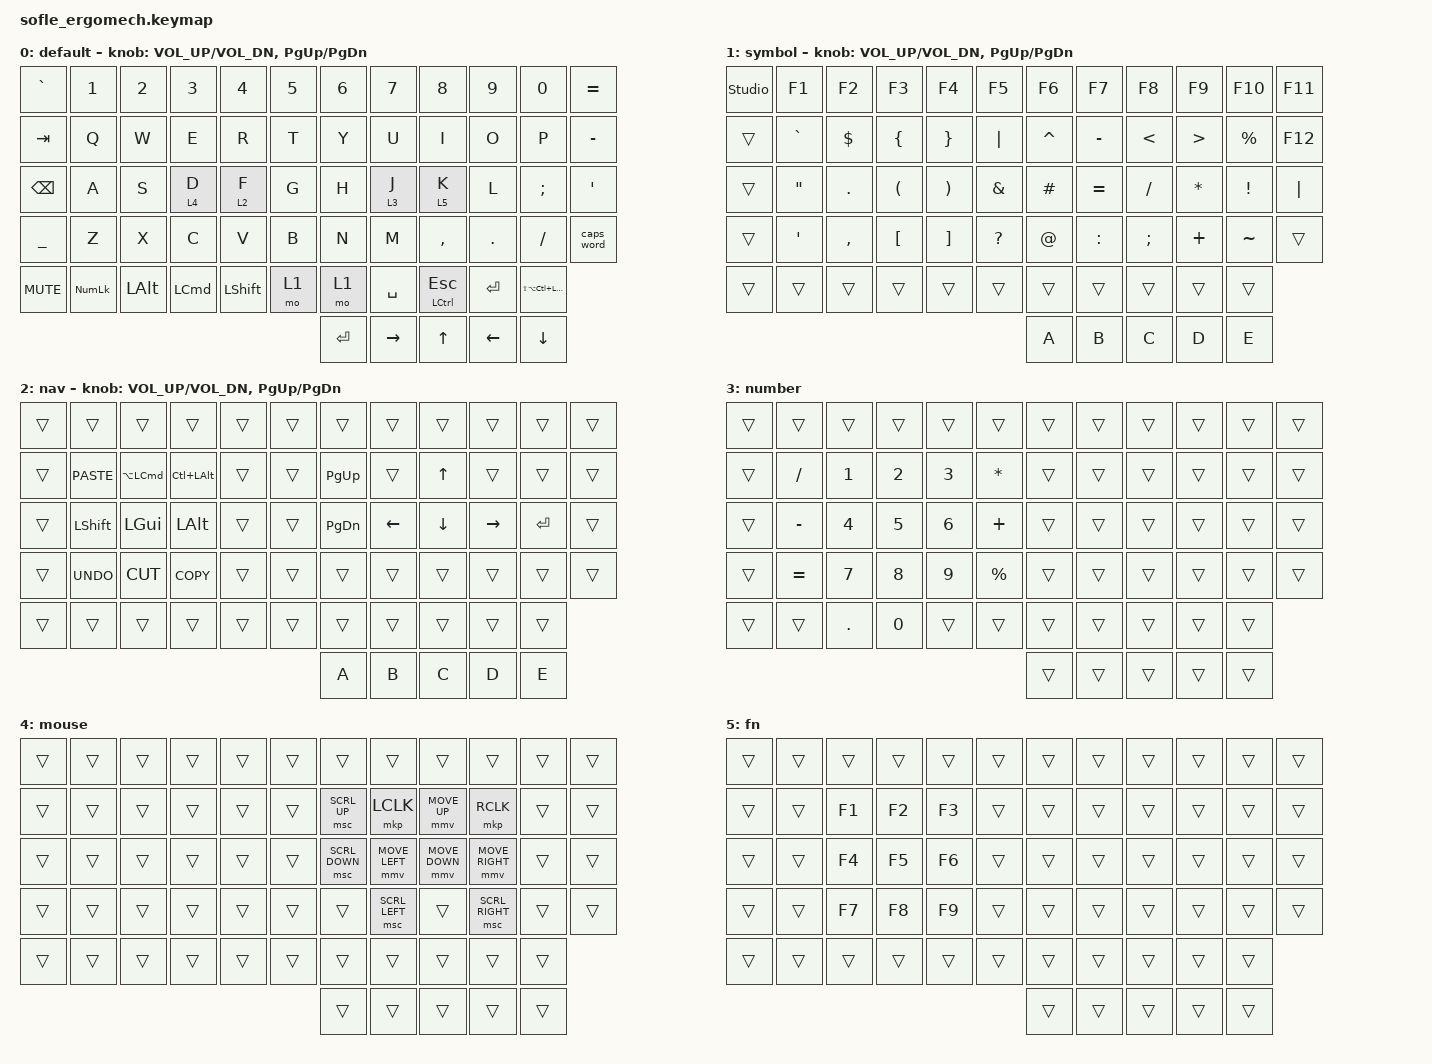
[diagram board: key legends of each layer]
/*
 * Copyright (c) 2020 The ZMK Contributors
 *
 * SPDX-License-Identifier: MIT
 */

#include <behaviors.dtsi>
#include <dt-bindings/zmk/keys.h>

#define ZMK_POINTING_DEFAULT_MOVE_VAL 1500  // default: 600
#define ZMK_POINTING_DEFAULT_SCRL_VAL 20    // default: 10
#include <dt-bindings/zmk/pointing.h>

#define BASE 0
#define LOWER 1
#define RAISE 2
#define ADJUST 3

/ {
    // Activate ADJUST layer by pressing raise and lower

    conditional_layers { compatible = "zmk,conditional-layers"; };

    keymap {
        compatible = "zmk,keymap";

        default_layer {
            label = "default";

            // ------------------------------------------------------------------------------------------------------------
            // |   `   |  1  |  2  |  3   |  4   |  5   |                   |  6   |  7    |  8    |  9   |   0   |       |
            // |  ESC  |  Q  |  W  |  E   |  R   |  T   |                   |  Y   |  U    |  I    |  O   |   P   | BKSPC |
            // |  TAB  |  A  |  S  |  D   |  F   |  G   |                   |  H   |  J    |  K    |  L   |   ;   |   '   |
            // | SHIFT |  Z  |  X  |  C   |  V   |  B   |  MUTE  |  |       |  N   |  M    |  ,    |  .   |   /   | SHIFT |
            //               | GUI | ALT  | CTRL | LOWER|  ENTER |  | SPACE | RAISE| CTRL  | ALT   | GUI  |

            bindings = <
&kp GRAVE       &kp N1          &kp N2    &kp N3            &kp N4          &kp N5  &kp N6     &kp N7     &kp N8                   &kp N9      &kp N0                    &kp EQUAL
&kp TAB         &kp Q           &kp W     &kp E             &kp R           &kp T   &kp Y      &kp U      &kp I                    &kp O       &kp P                     &kp MINUS
&kp BACKSPACE   &kp A           &kp S     &lt 4 D           &lt 2 F         &kp G   &kp H      &lt 3 J    &lt 5 K                  &kp L       &kp SEMI                  &kp SQT
&kp UNDERSCORE  &kp Z           &kp X     &kp C             &kp V           &kp B   &kp N      &kp M      &kp COMMA                &kp DOT     &kp FSLH                  &caps_word
&kp C_MUTE      &kp KP_NUMLOCK  &kp LALT  &kp LEFT_COMMAND  &kp LEFT_SHIFT  &mo 1   &mo 1      &kp SPACE  &mt LEFT_CONTROL ESCAPE  &kp RETURN  &kp LS(LA(LC(LEFT_GUI)))
                                                                                    &kp ENTER  &kp RIGHT  &kp UP_ARROW             &kp LEFT    &kp DOWN
            >;

            sensor-bindings = <&inc_dec_kp C_VOL_UP C_VOL_DN &inc_dec_kp PG_UP PG_DN>;
        };

        symbol_layer {
            label = "symbol";

            // TODO: Some binds are waiting for shifted keycode support.
            // ------------------------------------------------------------------------------------------------------------
            // |       |  F1 |  F2 |  F3  |  F4  |  F5  |                   |  F6  |  F7   |  F8   |  F9  |  F10  |  F11  |
            // |   `   |  1  |  2  |  3   |  4   |  5   |                   |  6   |  7    |  8    |  9   |   0   |  F12  |
            // |       |  !  |  @  |  #   |  $   |  %   |                   |  ^   |  &    |  *    |  (   |   )   |   |   |
            // |       |  =  |  -  |  +   |  {   |  }   |        |  |       |  [   |  ]    |  ;    |  :   |   \   |       |
            //               |     |      |      |      |        |  |       |      |       |       |      |

            bindings = <
&studio_unlock  &kp F1             &kp F2      &kp F3                &kp F4                 &kp F5         &kp F6       &kp F7     &kp F8         &kp F9            &kp F10          &kp F11
&trans          &kp GRAVE          &kp DOLLAR  &kp LEFT_BRACE        &kp RIGHT_BRACE        &kp PIPE       &kp CARET    &kp MINUS  &kp LESS_THAN  &kp GREATER_THAN  &kp PERCENT      &kp F12
&trans          &kp DOUBLE_QUOTES  &kp PERIOD  &kp LEFT_PARENTHESIS  &kp RIGHT_PARENTHESIS  &kp AMPERSAND  &kp HASH     &kp EQUAL  &kp SLASH      &kp ASTERISK      &kp EXCLAMATION  &kp PIPE
&trans          &kp SINGLE_QUOTE   &kp COMMA   &kp LEFT_BRACKET      &kp RIGHT_BRACKET      &kp QUESTION   &kp AT_SIGN  &kp COLON  &kp SEMI       &kp PLUS          &kp TILDE        &trans
&trans          &trans             &trans      &trans                &trans                 &trans         &trans       &trans     &trans         &trans            &trans
                                                                                                           &kp A        &kp B      &kp C          &kp D             &kp E
            >;

            sensor-bindings = <&inc_dec_kp C_VOL_UP C_VOL_DN &inc_dec_kp PG_UP PG_DN>;
        };

        nav_layer {
            label = "nav";

            // ------------------------------------------------------------------------------------------------------------
            // | BTCLR | BT1  | BT2  |  BT3  |  BT4  |  BT5 |                |      |      |       |      |       |       |
            // |       | INS  | PSCR | GUI   |       |      |                | PGUP |      |   ^   |      |       |       |
            // |       | ALT  | CTRL | SHIFT |       | CAPS |                | PGDN |   <- |   v   |  ->  |  DEL  | BKSPC |
            // |       | UNDO | CUT  | COPY  | PASTE |      |      |  |      |      |      |       |      |       |       |
            //                |      |       |       |      |      |  |      |      |      |       |      |

            bindings = <
&trans  &trans          &trans                &trans            &trans  &trans  &trans     &trans    &trans    &trans     &trans      &trans
&trans  &kp K_PASTE     &kp LA(LEFT_COMMAND)  &kp LC(LEFT_ALT)  &trans  &trans  &kp PG_UP  &trans    &kp UP    &trans     &trans      &trans
&trans  &kp LEFT_SHIFT  &kp LEFT_GUI          &kp LEFT_ALT      &trans  &trans  &kp PG_DN  &kp LEFT  &kp DOWN  &kp RIGHT  &kp RETURN  &trans
&trans  &kp K_UNDO      &kp K_CUT             &kp K_COPY        &trans  &trans  &trans     &trans    &trans    &trans     &trans      &trans
&trans  &trans          &trans                &trans            &trans  &trans  &trans     &trans    &trans    &trans     &trans
                                                                                &kp A      &kp B     &kp C     &kp D      &kp E
            >;

            sensor-bindings = <&inc_dec_kp C_VOL_UP C_VOL_DN &inc_dec_kp PG_UP PG_DN>;
        };

        number_layer {
            bindings = <
&trans  &trans     &trans        &trans        &trans        &trans        &trans  &trans  &trans  &trans  &trans  &trans
&trans  &kp SLASH  &kp NUMBER_1  &kp NUMBER_2  &kp NUMBER_3  &kp ASTERISK  &trans  &trans  &trans  &trans  &trans  &trans
&trans  &kp MINUS  &kp NUMBER_4  &kp NUMBER_5  &kp NUMBER_6  &kp PLUS      &trans  &trans  &trans  &trans  &trans  &trans
&trans  &kp EQUAL  &kp NUMBER_7  &kp NUMBER_8  &kp NUMBER_9  &kp PERCENT   &trans  &trans  &trans  &trans  &trans  &trans
&trans  &trans     &kp PERIOD    &kp NUMBER_0  &trans        &trans        &trans  &trans  &trans  &trans  &trans
                                                                           &trans  &trans  &trans  &trans  &trans
            >;

            label = "number";
        };

        mouse_layer {
            bindings = <
&trans  &trans  &trans  &trans  &trans  &trans  &trans          &trans          &trans          &trans           &trans  &trans
&trans  &trans  &trans  &trans  &trans  &trans  &msc SCRL_UP    &mkp LCLK       &mmv MOVE_UP    &mkp RCLK        &trans  &trans
&trans  &trans  &trans  &trans  &trans  &trans  &msc SCRL_DOWN  &mmv MOVE_LEFT  &mmv MOVE_DOWN  &mmv MOVE_RIGHT  &trans  &trans
&trans  &trans  &trans  &trans  &trans  &trans  &trans          &msc SCRL_LEFT  &trans          &msc SCRL_RIGHT  &trans  &trans
&trans  &trans  &trans  &trans  &trans  &trans  &trans          &trans          &trans          &trans           &trans
                                                &trans          &trans          &trans          &trans           &trans
            >;

            label = "mouse";
        };

        fn_layer {
            bindings = <
&trans  &trans  &trans  &trans  &trans  &trans  &trans  &trans  &trans  &trans  &trans  &trans
&trans  &trans  &kp F1  &kp F2  &kp F3  &trans  &trans  &trans  &trans  &trans  &trans  &trans
&trans  &trans  &kp F4  &kp F5  &kp F6  &trans  &trans  &trans  &trans  &trans  &trans  &trans
&trans  &trans  &kp F7  &kp F8  &kp F9  &trans  &trans  &trans  &trans  &trans  &trans  &trans
&trans  &trans  &trans  &trans  &trans  &trans  &trans  &trans  &trans  &trans  &trans
                                                &trans  &trans  &trans  &trans  &trans
            >;

            label = "fn";
        };
    };
};
